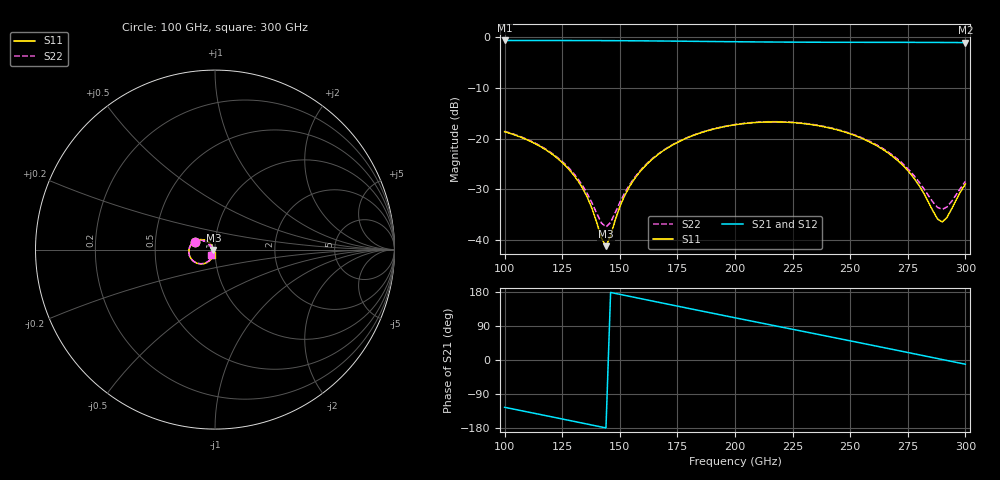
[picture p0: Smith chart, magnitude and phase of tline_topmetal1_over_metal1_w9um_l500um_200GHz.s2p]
#  GHZ S DB R 50
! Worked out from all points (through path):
!   101 points, 100 GHz to 300 GHz, reference 50 ohm
!   highest |S21| = -0.67 dB at 100 GHz (marker M1); lowest = -1.1 dB at 300 GHz (marker M2)
!   group delay of S21, straight-line fit = 3.42 ps
!   lowest |S11| = -41.2 dB at 144 GHz (marker M3), VSWR 1.02, Z = 49.2 - j0.18 ohm
!   |S11| at or under -10 dB: start of sweep to end of sweep
!   |S22| runs from -37.4 to -16.7 dB; largest |S21 - S12| = 1.1e-14
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100  -18.62 158.1  -0.67 -124.8  -0.67 -124.8  -18.56 160.3
120  -22.84 135.7  -0.68 -149.4  -0.68 -149.4  -22.70 139.6
128  -26.07 128.8  -0.68 -159.3  -0.68 -159.3  -25.82 134.4
134  -29.88 127.0  -0.69 -166.8  -0.69 -166.8  -29.36 135.1
138  -33.81 131.6  -0.69 -171.8  -0.69 -171.8  -32.72 142.5
142  -39.58 157.6  -0.70 -176.8  -0.70 -176.8  -36.57 167.4
144  -41.16 -167.9  -0.70 -179.2  -0.70 -179.2  -37.39 -169.7
146  -39.09 -135.7  -0.71 178.3  -0.71 178.3  -36.48 -147.1
150  -33.41 -112.9  -0.72 173.3  -0.72 173.3  -32.58 -123.0
154  -29.59 -109.0  -0.73 168.3  -0.73 168.3  -29.24 -115.8
160  -25.84 -111.0  -0.75 160.8  -0.75 160.8  -25.70 -115.2
168  -22.64 -117.7  -0.78 150.9  -0.78 150.9  -22.57 -120.3
182  -19.34 -132.6  -0.84 133.5  -0.84 133.5  -19.29 -133.6
200  -17.26 -152.9  -0.92 111.5  -0.92 111.5  -17.22 -153.0
216  -16.70 -171.1  -0.98 92.0  -0.98 92.0  -16.65 -170.5
234  -17.28 168.8  -1.02 70.1  -1.02 70.1  -17.22 170.1
252  -19.37 149.6  -1.03 48.1  -1.03 48.1  -19.27 152.0
268  -23.33 135.5  -1.04 28.5  -1.04 28.5  -23.11 139.6
278  -27.97 133.1  -1.04 16.1  -1.04 16.1  -27.44 139.6
288  -35.86 168.8  -1.06 3.7  -1.06 3.7  -33.55 173.2
290  -36.39 -170.3  -1.06 1.2  -1.06 1.2  -33.91 -171.5
300  -28.91 -120.3  -1.09 -11.2  -1.09 -11.2  -28.41 -126.4
